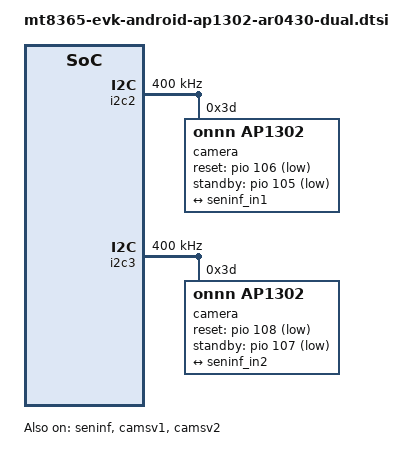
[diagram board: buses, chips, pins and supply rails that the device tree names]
// SPDX-License-Identifier: GPL-2.0
/*
 * Copyright (c) 2021 Baylibre, SAS
 * Author: Florian Sylvestre <florian.sylvestre@baylibre.com>
 */
/dts-v1/;
/plugin/;


#include <dt-bindings/clock/mt8365-clk.h>
#include <dt-bindings/gpio/gpio.h>
#include <dt-bindings/pinctrl/mt8365-pinfunc.h>

&reserved_memory {
	#address-cells = <2>;
	#size-cells = <2>;
	ramoops@0x4FF00000 {
		compatible = "ramoops";
		reg = <0x0 0x4FF00000 0x0 0x00100000>;
		record-size = <0x00008000>;
		console-size = <0x00008000>;
		ftrace-size = <0x00000000>;
		pmsg-size = <0x00008000>;
	};
};

&pio {
	cam0_pins_default: cam0_pins_default {
		pins_clk_rst {
			pinmux = <MT8365_PIN_65_CMMCLK0__FUNC_CMMCLK0>,
				<MT8365_PIN_105_NCLE__FUNC_GPIO105>,
				<MT8365_PIN_106_NCEB1__FUNC_GPIO106>;
		};
	};

	cam1_pins_default: cam1_pins_default {
		pins_clk_rst {
			pinmux = <MT8365_PIN_66_CMMCLK1__FUNC_CMMCLK1>,
					<MT8365_PIN_107_NCEB0__FUNC_GPIO107>,
					<MT8365_PIN_108_NREB__FUNC_GPIO108>;
		};
	};
};

&i2c2 {
	#address-cells = <1>;
	#size-cells = <0>;
	clock-frequency = <400000>;

	camera@3d {
		compatible = "onnn,ap1302";
		reg = <0x3d>;

		pinctrl-names = "default";
		pinctrl-0 = <&cam0_pins_default>;

		clocks = <&topckgen CLK_TOP_CAMTG_SEL>;
		assigned-clocks = <&topckgen CLK_TOP_CAMTG_SEL>;
		assigned-clock-parents = <&topckgen CLK_TOP_USB20_192M_D4>;

		reset-gpios = <&pio 106 GPIO_ACTIVE_LOW>;
		standby-gpios = <&pio 105 GPIO_ACTIVE_LOW>;

		orientation = <0>;
		rotation = <0>;

		port {
			isp1_out: endpoint {
				remote-endpoint = <&seninf_in1>;
				data-lanes = <1 2 3 4>;
			};
		};

		sensors {
			#address-cells = <1>;
			#size-cells = <0>;

			onnn,model = "onnn,ar0430";

			sensor@0 {
				reg = <0>;
			};
		};
	};
};

&i2c3 {
	#address-cells = <1>;
	#size-cells = <0>;
	clock-frequency = <400000>;

	camera@3d {
		compatible = "onnn,ap1302";
		reg = <0x3d>;

		pinctrl-names = "default";
		pinctrl-0 = <&cam1_pins_default>;

		clocks = <&topckgen CLK_TOP_CAMTG1_SEL>;
		assigned-clocks = <&topckgen CLK_TOP_CAMTG1_SEL>;
		assigned-clock-parents = <&topckgen CLK_TOP_USB20_192M_D4>;

		reset-gpios = <&pio 108 GPIO_ACTIVE_LOW>;
		standby-gpios = <&pio 107 GPIO_ACTIVE_LOW>;

		orientation = <0>;
		rotation = <0>;

		port {
			isp2_out: endpoint {
				remote-endpoint = <&seninf_in2>;
				data-lanes = <1 2 3 4>;
			};
		};

		sensors {
			#address-cells = <1>;
			#size-cells = <0>;

			onnn,model = "onnn,ar0430";

			sensor@0 {
				reg = <0>;
			};
		};
	};
};

&seninf {
	status = "okay";

	ports {
		port@0 {
			seninf_in1: endpoint {
				clock-lanes = <2>;
				data-lanes = <1 3 0 4>;
				remote-endpoint = <&isp1_out>;
			};
		};
		port@1 {
			seninf_in2: endpoint {
				clock-lanes = <2>;
				data-lanes = <1 3 0 4>;
				remote-endpoint = <&isp2_out>;
			};
		};
	};
};

&camsv1 {
	status = "okay";
};

&camsv2 {
	status = "okay";
};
